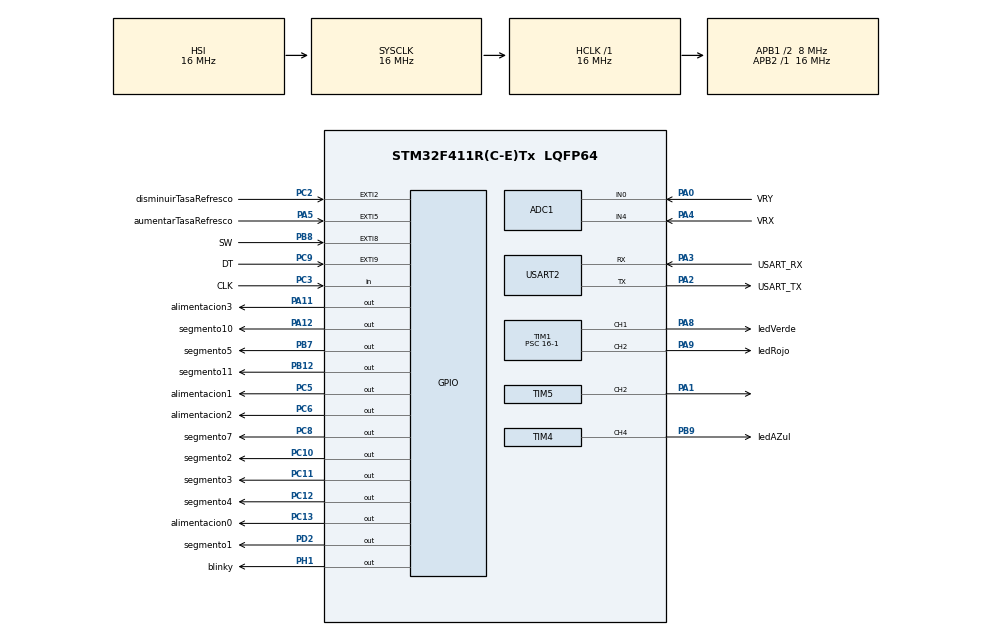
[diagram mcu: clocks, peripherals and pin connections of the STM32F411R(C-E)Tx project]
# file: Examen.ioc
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ADC1.Channel-1\#ChannelRegularConversion=ADC_CHANNEL_4
ADC1.Channel-2\#ChannelRegularConversion=ADC_CHANNEL_0
ADC1.ContinuousConvMode=DISABLE
ADC1.DMAContinuousRequests=ENABLE
ADC1.ExternalTrigConv=ADC_EXTERNALTRIGCONV_T5_CC2
ADC1.NbrOfConversion=2
ADC1.NbrOfConversionFlag=1
ADC1.Rank-1\#ChannelRegularConversion=1
ADC1.Rank-2\#ChannelRegularConversion=2
ADC1.SamplingTime-1\#ChannelRegularConversion=ADC_SAMPLETIME_3CYCLES
ADC1.SamplingTime-2\#ChannelRegularConversion=ADC_SAMPLETIME_3CYCLES
ADC1.ScanConvMode=ENABLE
ADC1.master=1
Dma.ADC1.0.Direction=DMA_PERIPH_TO_MEMORY
Dma.ADC1.0.FIFOMode=DMA_FIFOMODE_DISABLE
Dma.ADC1.0.Instance=DMA2_Stream0
Dma.ADC1.0.MemDataAlignment=DMA_MDATAALIGN_HALFWORD
Dma.ADC1.0.MemInc=DMA_MINC_ENABLE
Dma.ADC1.0.Mode=DMA_CIRCULAR
Dma.ADC1.0.PeriphDataAlignment=DMA_PDATAALIGN_HALFWORD
Dma.ADC1.0.PeriphInc=DMA_PINC_DISABLE
Dma.ADC1.0.Priority=DMA_PRIORITY_LOW
Dma.Request0=ADC1
Dma.Request1=USART2_RX
Dma.Request2=USART2_TX
Dma.USART2_RX.1.Direction=DMA_PERIPH_TO_MEMORY
Dma.USART2_RX.1.FIFOMode=DMA_FIFOMODE_DISABLE
Dma.USART2_RX.1.Instance=DMA1_Stream5
Dma.USART2_RX.1.MemDataAlignment=DMA_MDATAALIGN_BYTE
Dma.USART2_RX.1.MemInc=DMA_MINC_ENABLE
Dma.USART2_RX.1.Mode=DMA_NORMAL
Dma.USART2_RX.1.PeriphDataAlignment=DMA_PDATAALIGN_BYTE
Dma.USART2_RX.1.PeriphInc=DMA_PINC_DISABLE
Dma.USART2_RX.1.Priority=DMA_PRIORITY_LOW
Dma.USART2_TX.2.Direction=DMA_MEMORY_TO_PERIPH
Dma.USART2_TX.2.FIFOMode=DMA_FIFOMODE_DISABLE
Dma.USART2_TX.2.Instance=DMA1_Stream6
Dma.USART2_TX.2.MemDataAlignment=DMA_MDATAALIGN_BYTE
Dma.USART2_TX.2.MemInc=DMA_MINC_ENABLE
Dma.USART2_TX.2.Mode=DMA_NORMAL
Dma.USART2_TX.2.PeriphDataAlignment=DMA_PDATAALIGN_BYTE
Dma.USART2_TX.2.PeriphInc=DMA_PINC_DISABLE
Dma.USART2_TX.2.Priority=DMA_PRIORITY_LOW
Mcu.Family=STM32F4
Mcu.Name=STM32F411R(C-E)Tx
Mcu.Package=LQFP64
NVIC.DMA1_Stream5_IRQn=true\:0\:0\:false\:false\:true\:false\:true\:true
NVIC.DMA1_Stream6_IRQn=true\:0\:0\:false\:false\:true\:false\:true\:true
NVIC.DMA2_Stream0_IRQn=true\:0\:0\:false\:false\:true\:false\:true\:true
NVIC.EXTI2_IRQn=true\:0\:0\:false\:false\:true\:true\:true\:true
NVIC.EXTI9_5_IRQn=true\:0\:0\:false\:false\:true\:true\:true\:true
NVIC.PriorityGroup=NVIC_PRIORITYGROUP_0
NVIC.TIM2_IRQn=true\:0\:0\:false\:false\:true\:true\:true\:true
NVIC.TIM3_IRQn=true\:0\:0\:false\:false\:true\:true\:true\:true
NVIC.USART2_IRQn=true\:0\:0\:false\:false\:true\:true\:true\:true
PA0-WKUP.GPIO_Label=VRY
PA0-WKUP.Signal=ADCx_IN0
PA1.Signal=S_TIM5_CH2
PA11.GPIO_Label=alimentacion3
PA11.GPIO_Speed=GPIO_SPEED_FREQ_MEDIUM
PA11.Signal=GPIO_Output
PA12.GPIO_Label=segmento10
PA12.GPIO_Speed=GPIO_SPEED_FREQ_MEDIUM
PA12.Signal=GPIO_Output
PA13.GPIO_Label=TMS
PA13.Mode=Serial_Wire
PA13.Signal=SYS_JTMS-SWDIO
PA14.GPIO_Label=TCK
PA14.Mode=Serial_Wire
PA14.Signal=SYS_JTCK-SWCLK
PA2.GPIO_Label=USART_TX
PA2.Mode=Asynchronous
PA2.Signal=USART2_TX
PA3.GPIO_Label=USART_RX
PA3.Mode=Asynchronous
PA3.Signal=USART2_RX
PA4.GPIO_Label=VRX
PA4.Signal=ADCx_IN4
PA5.GPIO_Label=aumentarTasaRefresco
PA5.Signal=GPXTI5
PA8.GPIO_Label=ledVerde
PA8.Signal=S_TIM1_CH1
PA9.GPIO_Label=ledRojo
PA9.Signal=S_TIM1_CH2
PB12.GPIO_Label=segmento11
PB12.GPIO_Speed=GPIO_SPEED_FREQ_MEDIUM
PB12.Signal=GPIO_Output
PB3.GPIO_Label=SWO
PB3.Signal=SYS_JTDO-SWO
PB7.GPIO_Label=segmento5
PB7.GPIO_Speed=GPIO_SPEED_FREQ_MEDIUM
PB7.Signal=GPIO_Output
PB8.GPIO_Label=SW
PB8.Signal=GPXTI8
PB9.GPIO_Label=ledAZul
PB9.Signal=S_TIM4_CH4
PC10.GPIO_Label=segmento2
PC10.GPIO_Speed=GPIO_SPEED_FREQ_MEDIUM
PC10.Signal=GPIO_Output
PC11.GPIO_Label=segmento3
PC11.GPIO_Speed=GPIO_SPEED_FREQ_MEDIUM
PC11.Signal=GPIO_Output
PC12.GPIO_Label=segmento4
PC12.GPIO_Speed=GPIO_SPEED_FREQ_MEDIUM
PC12.Signal=GPIO_Output
PC13-ANTI_TAMP.GPIO_Label=alimentacion0
PC13-ANTI_TAMP.Signal=GPIO_Output
PC14-OSC32_IN.Mode=LSE-External-Oscillator
PC14-OSC32_IN.Signal=RCC_OSC32_IN
PC15-OSC32_OUT.Mode=LSE-External-Oscillator
PC15-OSC32_OUT.Signal=RCC_OSC32_OUT
PC2.GPIO_Label=disminuirTasaRefresco
PC2.Signal=GPXTI2
PC3.GPIO_Label=CLK
PC3.Signal=GPIO_Input
PC5.GPIO_Label=alimentacion1
PC5.GPIO_Speed=GPIO_SPEED_FREQ_MEDIUM
PC5.Signal=GPIO_Output
PC6.GPIO_Label=alimentacion2
PC6.GPIO_Speed=GPIO_SPEED_FREQ_MEDIUM
PC6.Signal=GPIO_Output
PC8.GPIO_Label=segmento7
PC8.GPIO_Speed=GPIO_SPEED_FREQ_MEDIUM
PC8.Signal=GPIO_Output
PC9.GPIO_Label=DT
PC9.Signal=GPXTI9
PD2.GPIO_Label=segmento1
PD2.GPIO_Speed=GPIO_SPEED_FREQ_MEDIUM
PD2.Signal=GPIO_Output
PH0\ -\ OSC_IN.Signal=RCC_OSC_IN
PH1\ -\ OSC_OUT.GPIO_Label=blinky
PH1\ -\ OSC_OUT.GPIO_Speed=GPIO_SPEED_FREQ_MEDIUM
PH1\ -\ OSC_OUT.Signal=GPIO_Output
ProjectManager.HeapSize=0x200
ProjectManager.StackSize=0x400
ProjectManager.TargetToolchain=STM32CubeIDE
RCC.48MHZClocksFreq_Value=84000000
RCC.AHBFreq_Value=16000000
RCC.APB1CLKDivider=RCC_HCLK_DIV2
RCC.APB1Freq_Value=8000000
RCC.APB1TimFreq_Value=16000000
RCC.APB2Freq_Value=16000000
RCC.APB2TimFreq_Value=16000000
RCC.CortexFreq_Value=16000000
RCC.FLatency-AdvancedSettings=FLASH_LATENCY_0
RCC.HCLKFreq_Value=16000000
RCC.HSE_VALUE=8000000
RCC.HSI_VALUE=16000000
RCC.PLLN=336
RCC.PLLP=RCC_PLLP_DIV4
RCC.SYSCLKFreq_VALUE=16000000
RCC.VCOOutputFreq_Value=336000000
SH.ADCx_IN0.0=ADC1_IN0,IN0
SH.ADCx_IN4.0=ADC1_IN4,IN4
SH.S_TIM1_CH1.0=TIM1_CH1,PWM Generation1 CH1
SH.S_TIM1_CH2.0=TIM1_CH2,PWM Generation2 CH2
SH.S_TIM4_CH4.0=TIM4_CH4,PWM Generation4 CH4
SH.S_TIM5_CH2.0=TIM5_CH2,Output Compare2 CH2
TIM1.Channel-PWM\ Generation1\ CH1=TIM_CHANNEL_1
TIM1.Channel-PWM\ Generation2\ CH2=TIM_CHANNEL_2
TIM1.Period=1000-1
TIM1.Prescaler=16-1
TIM1.Pulse-PWM\ Generation1\ CH1=200
TIM1.Pulse-PWM\ Generation2\ CH2=80
TIM2.Period=250-1
TIM2.Prescaler=16000-1
TIM3.Period=3
TIM3.Prescaler=16000-1
TIM4.Channel-PWM\ Generation4\ CH4=TIM_CHANNEL_4
TIM4.Period=1000-1
TIM4.Prescaler=16-1
TIM4.Pulse-PWM\ Generation4\ CH4=100
TIM5.Channel-Output\ Compare2\ CH2=TIM_CHANNEL_2
TIM5.OCMode_2=TIM_OCMODE_TOGGLE
TIM5.Period=100-1
TIM5.Prescaler=16000-1
TIM5.TIM_MasterOutputTrigger=TIM_TRGO_OC2REF
USART2.VirtualMode=VM_ASYNC
VP_TIM2_VS_ClockSourceINT.Mode=Internal
VP_TIM3_VS_ClockSourceINT.Mode=Internal
VP_TIM5_VS_ClockSourceINT.Mode=Internal
board=NUCLEO-F411RE

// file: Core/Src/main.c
/* USER CODE BEGIN Header */
/**
  ******************************************************************************
  * @file           : main.c
  * @brief          : Main program body
  ******************************************************************************
  * @attention
  *
  * Copyright (c) 2025 STMicroelectronics.
  * All rights reserved.
  *
  * This software is licensed under terms that can be found in the LICENSE file
  * in the root directory of this software component.
  * If no LICENSE file comes with this software, it is provided AS-IS.
  *
  ******************************************************************************
  */
/* USER CODE END Header */
#include "main.h"

/* USER CODE BEGIN PTD */
//Definimos una enumeracion con los diferentes estados que puede tener la maquina
typedef enum{
	refrescar,
	cambiar_numero,
	aumentar_tasa_refresco,
	disminuir_tasa_refresco,
	resetear,
	Blinky,
	mensaje,
	IDLE
}posiblesEstados;

typedef struct
{
	posiblesEstados estado;
}estadoActual;

//Enumeramos las posibles partes que tenemos en el numero que aparece en el Display
typedef enum{
	unidad1 =0,
	decena1,
	centena1,
	milUnidad1,
}parteNumero;
/* USER CODE END PTD */

/* USER CODE BEGIN PD */
//Definimos el tamano del buffer donde se va a almacenar el menu
#define MENU_BUFFER_SIZE 1150
//Inicializamos la variable a la cual vamos a gurdarle el estado que
//tiene la maquina
estadoActual fsm ={0};

//Creamos la variable donde vamos a guardar el numero en x sin escalar
uint16_t numerox1=0;
//Creamos la variable donde vamos a guardar el numero en x escalado
uint16_t numerox=0;
//Creamos la variable donde vamos a guardar el numero en y sin escalar
uint16_t numeroy1=0;
//Creamos la variable donde vamos a guardar el numero en y escalado
uint16_t numeroy =0;

//Inicializamos las variables que van a permitir separar el numeroDisplay en 4 partes
uint8_t unidad = 0;
uint8_t decena = 0;
uint8_t centena = 0;
uint8_t milUnidad = 0;

//Bandera que nos va a indicar que duty de que color queremos modificar
uint8_t numeroColor =0;
//Inicializamos la variable donde guardamos que digito queremos encender (0,1,2,3)
uint8_t digito = 0;
//Inicializamos la variable que va a modificar la tasa de refresco
//Comenzamos con un periodo de 20ms
uint16_t tasa_refresco = 20;

//Variables para el ADC
uint16_t adc_dma_buffer[2];     // DMA escribe aquí: [0] = X, [1] = Y

#define BUFFER_LEN 2048
//Definimos la variable que nos indica el tamano de los buffer recibidos
#define UART_RX_BUFFER_SIZE 64
uint16_t x_buffer[BUFFER_LEN];
uint16_t y_buffer[BUFFER_LEN];
uint16_t buffer_index = 0;

//Creamos la variable donde almacenaremos el menu inicial
char menu_display_buffer[MENU_BUFFER_SIZE];
/* USER CODE END PD */

ADC_HandleTypeDef hadc1;
DMA_HandleTypeDef hdma_adc1;

TIM_HandleTypeDef htim1;
TIM_HandleTypeDef htim2;
TIM_HandleTypeDef htim3;
TIM_HandleTypeDef htim4;
TIM_HandleTypeDef htim5;

UART_HandleTypeDef huart2;
DMA_HandleTypeDef hdma_usart2_rx;
DMA_HandleTypeDef hdma_usart2_tx;

/* USER CODE BEGIN PV */
//Definimos una tabla con los comandos y funciones posibles
const comando_t tablaComandos[]={
		{"duty", 	cambiarDuty},
		{"ciclosDigito", ciclosMCUD},
		{"ciclosMensaje", ciclosMCUM},
		{"help", help},
};
//Guardamos el numero de comandos en una variable
const int numeroComandos = sizeof (tablaComandos)/sizeof (comando_t);

//Creamos las variables donde se van a guardar los buffer utilizando
//el metodo ping pong
typedef enum{
	bufferA,
	bufferB
}bufferActivo;

//Creamos los buffer a y b
uint8_t rx_buffer_a [UART_RX_BUFFER_SIZE]={0};
uint8_t rx_buffer_b [UART_RX_BUFFER_SIZE]={0};

//Creamos una estructura donde se almacena los datos correspondientes al
//buffer activo
typedef struct{
	uint8_t* buffer;
	uint16_t size;
}DataPacket;

//Inicializamos la estructura DataPacket con el buffer vacío y el tamano
//igual a 0
volatile DataPacket data_ready_packet ={.buffer= NULL, .size=0};
//Inicializamos la variable del buffer activo con el buffer a
volatile bufferActivo dma_buffer_activo = bufferA;
//Inicializamos la variable de ciclosMCU para el digito
uint32_t ciclos =0;
/* USER CODE END PV */

void SystemClock_Config(void);
static void MX_GPIO_Init(void);
static void MX_DMA_Init(void);
static void MX_USART2_UART_Init(void);
static void MX_TIM2_Init(void);
static void MX_TIM3_Init(void);
static void MX_ADC1_Init(void);
static void MX_TIM1_Init(void);
static void MX_TIM4_Init(void);
static void MX_TIM5_Init(void);
/* USER CODE BEGIN PFP */
/*
 * Declaramos la funciones que aparecerán próximamente
 */
//Funcion que define qué se va a hacer según el estado en el que se encuentre la maquina
void maquinaEstados(uint8_t digito);
//Funcion que separa el numeroDisplay en 4 partes (unidad, decena, centena, milUnidad)
uint16_t separacion_parte (parteNumero parte, uint16_t numeroLocal);
//Funcion que nos permite encender el numero que queremos en el digito que queremos
void digito_encendido(uint8_t digito, uint8_t unidad,uint8_t decena, uint8_t centena, uint8_t milUnidad);
//Funcion que se encuentra dentro de "digito_encendido" para definir que numero
//quiero ver en cada digito
void definir_numero (uint8_t numero);
//Funcion para configurar los pines del 7 segmentos
void configurar7Segmentos();
//Funcion para configurar el pin del Blinky
void configurarTimers ();
//Funcion que configura los pines para el EXTI
void configurarExti ();
//Funcion para cambiar numero según el Encoder
uint16_t cambioNumero (uint16_t numeroLocal);

//Funciones para USART
//Funcion para imprimir el menu de opciones
void menuComandos (char* params);
//Funcion que analiza el comando recibido
void analizarComando (uint8_t* buffer, uint16_t size);
//Funcion que despacha el comando
void despacharComando (comandoID_t id, char* comando, char* params);
//Funcion para encontrar el comando que el usuario envió
comandoID_t encontrarComandoid (const char* comando_str);
/* USER CODE END PFP */

int main(void)
{

  /* MCU Configuration--------------------------------------------------------*/

  /* Reset of all peripherals, Initializes the Flash interface and the Systick. */
  HAL_Init();

  /* Configure the system clock */
  SystemClock_Config();

  /* USER CODE BEGIN SysInit */
  fsm.estado = refrescar;
  /* USER CODE END SysInit */

  /* Initialize all configured peripherals */
  MX_GPIO_Init();
  MX_DMA_Init();
  MX_USART2_UART_Init();
  MX_TIM2_Init();
  MX_TIM3_Init();
  MX_ADC1_Init();
  MX_TIM1_Init();
  MX_TIM4_Init();
  MX_TIM5_Init();
  /* USER CODE BEGIN 2 */
  //Activamos los timers y sus interrupciones
  HAL_TIM_Base_Start_IT(&htim2);
  HAL_TIM_Base_Start_IT(&htim3);
  //Inicializamos el Timer1 y 4 (sin interrupciones)
  HAL_TIM_Base_Start(&htim1);
  HAL_TIM_Base_Start(&htim4);
  HAL_TIM_Base_Start(&htim5);
  //Inicializamos los PWM
  HAL_TIM_PWM_Start(&htim1, TIM_CHANNEL_1);
  HAL_TIM_PWM_Start(&htim1, TIM_CHANNEL_2);
  HAL_TIM_PWM_Start(&htim4, TIM_CHANNEL_4);
  HAL_TIM_PWM_Start(&htim5, TIM_CHANNEL_2);
  //Inicializamos las conversiones ADC
  HAL_ADC_Start_DMA(&hadc1, (uint32_t*)adc_dma_buffer, 2);
  //Imprimimos el menu de comandos
  menuComandos(menu_display_buffer);
  //Inicializamos el buffer activo
  dma_buffer_activo= bufferA;
  //Comenzamos la recepcion del comando
  HAL_UARTEx_ReceiveToIdle_DMA(&huart2, rx_buffer_a, UART_RX_BUFFER_SIZE);

  // Hacemos la inicializacion correspondiente al registro para contar ciclos de MCU
  CoreDebug->DEMCR |= CoreDebug_DEMCR_TRCENA_Msk;     // Habilitar el sistema de trazado
  DWT->CYCCNT = 0;                                    // Reiniciar contador
  DWT->CTRL |= DWT_CTRL_CYCCNTENA_Msk;                // Habilitar contador

  /* USER CODE END 2 */

  /* Infinite loop */
  /* USER CODE BEGIN WHILE */
  while (1)
  {
	  if(fsm.estado != IDLE){
		  maquinaEstados(digito);
	  }
    /* USER CODE END WHILE */

    /* USER CODE BEGIN 3 */
  }
  return 0;
  /* USER CODE END 3 */
}

void SystemClock_Config(void)
{
  RCC_OscInitTypeDef RCC_OscInitStruct = {0};
  RCC_ClkInitTypeDef RCC_ClkInitStruct = {0};

  /** Configure the main internal regulator output voltage
  */
  __HAL_RCC_PWR_CLK_ENABLE();
  __HAL_PWR_VOLTAGESCALING_CONFIG(PWR_REGULATOR_VOLTAGE_SCALE1);

  /** Initializes the RCC Oscillators according to the specified parameters
  * in the RCC_OscInitTypeDef structure.
  */
  RCC_OscInitStruct.OscillatorType = RCC_OSCILLATORTYPE_HSI;
  RCC_OscInitStruct.HSIState = RCC_HSI_ON;
  RCC_OscInitStruct.HSICalibrationValue = RCC_HSICALIBRATION_DEFAULT;
  RCC_OscInitStruct.PLL.PLLState = RCC_PLL_NONE;
  if (HAL_RCC_OscConfig(&RCC_OscInitStruct) != HAL_OK)
  {
    Error_Handler();
  }

  /** Initializes the CPU, AHB and APB buses clocks
  */
  RCC_ClkInitStruct.ClockType = RCC_CLOCKTYPE_HCLK|RCC_CLOCKTYPE_SYSCLK
                              |RCC_CLOCKTYPE_PCLK1|RCC_CLOCKTYPE_PCLK2;
  RCC_ClkInitStruct.SYSCLKSource = RCC_SYSCLKSOURCE_HSI;
  RCC_ClkInitStruct.AHBCLKDivider = RCC_SYSCLK_DIV1;
  RCC_ClkInitStruct.APB1CLKDivider = RCC_HCLK_DIV2;
  RCC_ClkInitStruct.APB2CLKDivider = RCC_HCLK_DIV1;

  if (HAL_RCC_ClockConfig(&RCC_ClkInitStruct, FLASH_LATENCY_0) != HAL_OK)
  {
    Error_Handler();
  }
}

static void MX_ADC1_Init(void)
{

  ADC_ChannelConfTypeDef sConfig = {0};

  /** Configure the global features of the ADC (Clock, Resolution, Data Alignment and number of conversion)
  */
  hadc1.Instance = ADC1;
  hadc1.Init.ClockPrescaler = ADC_CLOCK_SYNC_PCLK_DIV2;
  hadc1.Init.Resolution = ADC_RESOLUTION_12B;
  hadc1.Init.ScanConvMode = ENABLE;
  hadc1.Init.ContinuousConvMode = DISABLE;
  hadc1.Init.DiscontinuousConvMode = DISABLE;
  hadc1.Init.ExternalTrigConvEdge = ADC_EXTERNALTRIGCONVEDGE_RISING;
  hadc1.Init.ExternalTrigConv = ADC_EXTERNALTRIGCONV_T5_CC2;
  hadc1.Init.DataAlign = ADC_DATAALIGN_RIGHT;
  hadc1.Init.NbrOfConversion = 2;
  hadc1.Init.DMAContinuousRequests = ENABLE;
  hadc1.Init.EOCSelection = ADC_EOC_SINGLE_CONV;
  if (HAL_ADC_Init(&hadc1) != HAL_OK)
  {
    Error_Handler();
  }

  /** Configure for the selected ADC regular channel its corresponding rank in the sequencer and its sample time.
  */
  sConfig.Channel = ADC_CHANNEL_4;
  sConfig.Rank = 1;
  sConfig.SamplingTime = ADC_SAMPLETIME_3CYCLES;
  if (HAL_ADC_ConfigChannel(&hadc1, &sConfig) != HAL_OK)
  {
    Error_Handler();
  }

  /** Configure for the selected ADC regular channel its corresponding rank in the sequencer and its sample time.
  */
  sConfig.Channel = ADC_CHANNEL_0;
  sConfig.Rank = 2;
  if (HAL_ADC_ConfigChannel(&hadc1, &sConfig) != HAL_OK)
  {
    Error_Handler();
  }

}

static void MX_TIM1_Init(void)
{

  TIM_MasterConfigTypeDef sMasterConfig = {0};
  TIM_OC_InitTypeDef sConfigOC = {0};
  TIM_BreakDeadTimeConfigTypeDef sBreakDeadTimeConfig = {0};

  htim1.Instance = TIM1;
  htim1.Init.Prescaler = 16-1;
  htim1.Init.CounterMode = TIM_COUNTERMODE_UP;
  htim1.Init.Period = 1000-1;
  htim1.Init.ClockDivision = TIM_CLOCKDIVISION_DIV1;
  htim1.Init.RepetitionCounter = 0;
  htim1.Init.AutoReloadPreload = TIM_AUTORELOAD_PRELOAD_DISABLE;
  if (HAL_TIM_PWM_Init(&htim1) != HAL_OK)
  {
    Error_Handler();
  }
  sMasterConfig.MasterOutputTrigger = TIM_TRGO_RESET;
  sMasterConfig.MasterSlaveMode = TIM_MASTERSLAVEMODE_DISABLE;
  if (HAL_TIMEx_MasterConfigSynchronization(&htim1, &sMasterConfig) != HAL_OK)
  {
    Error_Handler();
  }
  sConfigOC.OCMode = TIM_OCMODE_PWM1;
  sConfigOC.Pulse = 200;
  sConfigOC.OCPolarity = TIM_OCPOLARITY_HIGH;
  sConfigOC.OCNPolarity = TIM_OCNPOLARITY_HIGH;
  sConfigOC.OCFastMode = TIM_OCFAST_DISABLE;
  sConfigOC.OCIdleState = TIM_OCIDLESTATE_RESET;
  sConfigOC.OCNIdleState = TIM_OCNIDLESTATE_RESET;
  if (HAL_TIM_PWM_ConfigChannel(&htim1, &sConfigOC, TIM_CHANNEL_1) != HAL_OK)
  {
    Error_Handler();
  }
  sConfigOC.Pulse = 80;
  if (HAL_TIM_PWM_ConfigChannel(&htim1, &sConfigOC, TIM_CHANNEL_2) != HAL_OK)
  {
    Error_Handler();
  }
  sBreakDeadTimeConfig.OffStateRunMode = TIM_OSSR_DISABLE;
  sBreakDeadTimeConfig.OffStateIDLEMode = TIM_OSSI_DISABLE;
  sBreakDeadTimeConfig.LockLevel = TIM_LOCKLEVEL_OFF;
  sBreakDeadTimeConfig.DeadTime = 0;
  sBreakDeadTimeConfig.BreakState = TIM_BREAK_DISABLE;
  sBreakDeadTimeConfig.BreakPolarity = TIM_BREAKPOLARITY_HIGH;
  sBreakDeadTimeConfig.AutomaticOutput = TIM_AUTOMATICOUTPUT_DISABLE;
  if (HAL_TIMEx_ConfigBreakDeadTime(&htim1, &sBreakDeadTimeConfig) != HAL_OK)
  {
    Error_Handler();
  }
  HAL_TIM_MspPostInit(&htim1);

}

static void MX_TIM2_Init(void)
{

  TIM_ClockConfigTypeDef sClockSourceConfig = {0};
  TIM_MasterConfigTypeDef sMasterConfig = {0};

  htim2.Instance = TIM2;
  htim2.Init.Prescaler = 16000-1;
  htim2.Init.CounterMode = TIM_COUNTERMODE_UP;
  htim2.Init.Period = 250-1;
  htim2.Init.ClockDivision = TIM_CLOCKDIVISION_DIV1;
  htim2.Init.AutoReloadPreload = TIM_AUTORELOAD_PRELOAD_DISABLE;
  if (HAL_TIM_Base_Init(&htim2) != HAL_OK)
  {
    Error_Handler();
  }
  sClockSourceConfig.ClockSource = TIM_CLOCKSOURCE_INTERNAL;
  if (HAL_TIM_ConfigClockSource(&htim2, &sClockSourceConfig) != HAL_OK)
  {
    Error_Handler();
  }
  sMasterConfig.MasterOutputTrigger = TIM_TRGO_RESET;
  sMasterConfig.MasterSlaveMode = TIM_MASTERSLAVEMODE_DISABLE;
  if (HAL_TIMEx_MasterConfigSynchronization(&htim2, &sMasterConfig) != HAL_OK)
  {
    Error_Handler();
  }

}

static void MX_TIM3_Init(void)
{

  TIM_ClockConfigTypeDef sClockSourceConfig = {0};
  TIM_MasterConfigTypeDef sMasterConfig = {0};

  htim3.Instance = TIM3;
  htim3.Init.Prescaler = 16000-1;
  htim3.Init.CounterMode = TIM_COUNTERMODE_UP;
  htim3.Init.Period = 3;
  htim3.Init.ClockDivision = TIM_CLOCKDIVISION_DIV1;
  htim3.Init.AutoReloadPreload = TIM_AUTORELOAD_PRELOAD_DISABLE;
  if (HAL_TIM_Base_Init(&htim3) != HAL_OK)
  {
    Error_Handler();
  }
  sClockSourceConfig.ClockSource = TIM_CLOCKSOURCE_INTERNAL;
  if (HAL_TIM_ConfigClockSource(&htim3, &sClockSourceConfig) != HAL_OK)
  {
    Error_Handler();
  }
  sMasterConfig.MasterOutputTrigger = TIM_TRGO_RESET;
  sMasterConfig.MasterSlaveMode = TIM_MASTERSLAVEMODE_DISABLE;
  if (HAL_TIMEx_MasterConfigSynchronization(&htim3, &sMasterConfig) != HAL_OK)
  {
    Error_Handler();
  }

}

static void MX_TIM4_Init(void)
{

  TIM_MasterConfigTypeDef sMasterConfig = {0};
  TIM_OC_InitTypeDef sConfigOC = {0};

  htim4.Instance = TIM4;
  htim4.Init.Prescaler = 16-1;
  htim4.Init.CounterMode = TIM_COUNTERMODE_UP;
  htim4.Init.Period = 1000-1;
  htim4.Init.ClockDivision = TIM_CLOCKDIVISION_DIV1;
  htim4.Init.AutoReloadPreload = TIM_AUTORELOAD_PRELOAD_DISABLE;
  if (HAL_TIM_PWM_Init(&htim4) != HAL_OK)
  {
    Error_Handler();
  }
  sMasterConfig.MasterOutputTrigger = TIM_TRGO_RESET;
  sMasterConfig.MasterSlaveMode = TIM_MASTERSLAVEMODE_DISABLE;
  if (HAL_TIMEx_MasterConfigSynchronization(&htim4, &sMasterConfig) != HAL_OK)
  {
    Error_Handler();
  }
  sConfigOC.OCMode = TIM_OCMODE_PWM1;
  sConfigOC.Pulse = 100;
  sConfigOC.OCPolarity = TIM_OCPOLARITY_HIGH;
  sConfigOC.OCFastMode = TIM_OCFAST_DISABLE;
  if (HAL_TIM_PWM_ConfigChannel(&htim4, &sConfigOC, TIM_CHANNEL_4) != HAL_OK)
  {
    Error_Handler();
  }
  HAL_TIM_MspPostInit(&htim4);

}

static void MX_TIM5_Init(void)
{

  TIM_ClockConfigTypeDef sClockSourceConfig = {0};
  TIM_MasterConfigTypeDef sMasterConfig = {0};
  TIM_OC_InitTypeDef sConfigOC = {0};

  htim5.Instance = TIM5;
  htim5.Init.Prescaler = 16000-1;
  htim5.Init.CounterMode = TIM_COUNTERMODE_UP;
  htim5.Init.Period = 100-1;
  htim5.Init.ClockDivision = TIM_CLOCKDIVISION_DIV1;
  htim5.Init.AutoReloadPreload = TIM_AUTORELOAD_PRELOAD_DISABLE;
  if (HAL_TIM_Base_Init(&htim5) != HAL_OK)
  {
    Error_Handler();
  }
  sClockSourceConfig.ClockSource = TIM_CLOCKSOURCE_INTERNAL;
  if (HAL_TIM_ConfigClockSource(&htim5, &sClockSourceConfig) != HAL_OK)
  {
    Error_Handler();
  }
  if (HAL_TIM_OC_Init(&htim5) != HAL_OK)
  {
    Error_Handler();
  }
  sMasterConfig.MasterOutputTrigger = TIM_TRGO_OC2REF;
  sMasterConfig.MasterSlaveMode = TIM_MASTERSLAVEMODE_DISABLE;
  if (HAL_TIMEx_MasterConfigSynchronization(&htim5, &sMasterConfig) != HAL_OK)
  {
    Error_Handler();
  }
  sConfigOC.OCMode = TIM_OCMODE_TOGGLE;
  sConfigOC.Pulse = 0;
  sConfigOC.OCPolarity = TIM_OCPOLARITY_HIGH;
  sConfigOC.OCFastMode = TIM_OCFAST_DISABLE;
  if (HAL_TIM_OC_ConfigChannel(&htim5, &sConfigOC, TIM_CHANNEL_2) != HAL_OK)
  {
    Error_Handler();
  }
  HAL_TIM_MspPostInit(&htim5);

}

static void MX_USART2_UART_Init(void)
{

  huart2.Instance = USART2;
  huart2.Init.BaudRate = 115200;
  huart2.Init.WordLength = UART_WORDLENGTH_8B;
  huart2.Init.StopBits = UART_STOPBITS_1;
  huart2.Init.Parity = UART_PARITY_NONE;
  huart2.Init.Mode = UART_MODE_TX_RX;
  huart2.Init.HwFlowCtl = UART_HWCONTROL_NONE;
  huart2.Init.OverSampling = UART_OVERSAMPLING_16;
  if (HAL_UART_Init(&huart2) != HAL_OK)
  {
    Error_Handler();
  }

}

static void MX_DMA_Init(void)
{

  /* DMA controller clock enable */
  __HAL_RCC_DMA2_CLK_ENABLE();
  __HAL_RCC_DMA1_CLK_ENABLE();

  /* DMA interrupt init */
  /* DMA1_Stream5_IRQn interrupt configuration */
  HAL_NVIC_SetPriority(DMA1_Stream5_IRQn, 0, 0);
  HAL_NVIC_EnableIRQ(DMA1_Stream5_IRQn);
  /* DMA1_Stream6_IRQn interrupt configuration */
  HAL_NVIC_SetPriority(DMA1_Stream6_IRQn, 0, 0);
  HAL_NVIC_EnableIRQ(DMA1_Stream6_IRQn);
  /* DMA2_Stream0_IRQn interrupt configuration */
  HAL_NVIC_SetPriority(DMA2_Stream0_IRQn, 0, 0);
  HAL_NVIC_EnableIRQ(DMA2_Stream0_IRQn);

}

static void MX_GPIO_Init(void)
{
  GPIO_InitTypeDef GPIO_InitStruct = {0};

  /* GPIO Ports Clock Enable */
  __HAL_RCC_GPIOC_CLK_ENABLE();
  __HAL_RCC_GPIOH_CLK_ENABLE();
  __HAL_RCC_GPIOA_CLK_ENABLE();
  __HAL_RCC_GPIOB_CLK_ENABLE();
  __HAL_RCC_GPIOD_CLK_ENABLE();

  /*Configure GPIO pin Output Level */
  HAL_GPIO_WritePin(GPIOC, alimentacion0_Pin|alimentacion1_Pin|alimentacion2_Pin|segmento7_Pin
                          |segmento2_Pin|segmento3_Pin|segmento4_Pin, GPIO_PIN_RESET);

  /*Configure GPIO pin Output Level */
  HAL_GPIO_WritePin(blinky_GPIO_Port, blinky_Pin, GPIO_PIN_RESET);

  /*Configure GPIO pin Output Level */
  HAL_GPIO_WritePin(GPIOB, segmento11_Pin|segmento5_Pin, GPIO_PIN_RESET);

  /*Configure GPIO pin Output Level */
  HAL_GPIO_WritePin(GPIOA, alimentacion3_Pin|segmento10_Pin, GPIO_PIN_RESET);

  /*Configure GPIO pin Output Level */
  HAL_GPIO_WritePin(segmento1_GPIO_Port, segmento1_Pin, GPIO_PIN_RESET);

  /*Configure GPIO pin : alimentacion0_Pin */
  GPIO_InitStruct.Pin = alimentacion0_Pin;
  GPIO_InitStruct.Mode = GPIO_MODE_OUTPUT_PP;
  GPIO_InitStruct.Pull = GPIO_NOPULL;
  GPIO_InitStruct.Speed = GPIO_SPEED_FREQ_LOW;
  HAL_GPIO_Init(alimentacion0_GPIO_Port, &GPIO_InitStruct);

  /*Configure GPIO pin : blinky_Pin */
  GPIO_InitStruct.Pin = blinky_Pin;
  GPIO_InitStruct.Mode = GPIO_MODE_OUTPUT_PP;
  GPIO_InitStruct.Pull = GPIO_NOPULL;
  GPIO_InitStruct.Speed = GPIO_SPEED_FREQ_MEDIUM;
  HAL_GPIO_Init(blinky_GPIO_Port, &GPIO_InitStruct);

  /*Configure GPIO pins : disminuirTasaRefresco_Pin DT_Pin */
  GPIO_InitStruct.Pin = disminuirTasaRefresco_Pin|DT_Pin;
  GPIO_InitStruct.Mode = GPIO_MODE_IT_RISING;
  GPIO_InitStruct.Pull = GPIO_NOPULL;
  HAL_GPIO_Init(GPIOC, &GPIO_InitStruct);

  /*Configure GPIO pin : CLK_Pin */
  GPIO_InitStruct.Pin = CLK_Pin;
  GPIO_InitStruct.Mode = GPIO_MODE_INPUT;
  GPIO_InitStruct.Pull = GPIO_NOPULL;
  HAL_GPIO_Init(CLK_GPIO_Port, &GPIO_InitStruct);

  /*Configure GPIO pin : aumentarTasaRefresco_Pin */
  GPIO_InitStruct.Pin = aumentarTasaRefresco_Pin;
  GPIO_InitStruct.Mode = GPIO_MODE_IT_RISING;
  GPIO_InitStruct.Pull = GPIO_NOPULL;
  HAL_GPIO_Init(aumentarTasaRefresco_GPIO_Port, &GPIO_InitStruct);

  /*Configure GPIO pins : alimentacion1_Pin alimentacion2_Pin segmento7_Pin segmento2_Pin
                           segmento3_Pin segmento4_Pin */
  GPIO_InitStruct.Pin = alimentacion1_Pin|alimentacion2_Pin|segmento7_Pin|segmento2_Pin
                          |segmento3_Pin|segmento4_Pin;
  GPIO_InitStruct.Mode = GPIO_MODE_OUTPUT_PP;
  GPIO_InitStruct.Pull = GPIO_NOPULL;
  GPIO_InitStruct.Speed = GPIO_SPEED_FREQ_MEDIUM;
  HAL_GPIO_Init(GPIOC, &GPIO_InitStruct);

  /*Configure GPIO pins : segmento11_Pin segmento5_Pin */
  GPIO_InitStruct.Pin = segmento11_Pin|segmento5_Pin;
  GPIO_InitStruct.Mode = GPIO_MODE_OUTPUT_PP;
  GPIO_InitStruct.Pull = GPIO_NOPULL;
  GPIO_InitStruct.Speed = GPIO_SPEED_FREQ_MEDIUM;
  HAL_GPIO_Init(GPIOB, &GPIO_InitStruct);

  /*Configure GPIO pins : alimentacion3_Pin segmento10_Pin */
  GPIO_InitStruct.Pin = alimentacion3_Pin|segmento10_Pin;
  GPIO_InitStruct.Mode = GPIO_MODE_OUTPUT_PP;
  GPIO_InitStruct.Pull = GPIO_NOPULL;
  GPIO_InitStruct.Speed = GPIO_SPEED_FREQ_MEDIUM;
  HAL_GPIO_Init(GPIOA, &GPIO_InitStruct);

  /*Configure GPIO pin : segmento1_Pin */
  GPIO_InitStruct.Pin = segmento1_Pin;
  GPIO_InitStruct.Mode = GPIO_MODE_OUTPUT_PP;
  GPIO_InitStruct.Pull = GPIO_NOPULL;
  GPIO_InitStruct.Speed = GPIO_SPEED_FREQ_MEDIUM;
  HAL_GPIO_Init(segmento1_GPIO_Port, &GPIO_InitStruct);

  /*Configure GPIO pin : SW_Pin */
  GPIO_InitStruct.Pin = SW_Pin;
  GPIO_InitStruct.Mode = GPIO_MODE_IT_RISING;
  GPIO_InitStruct.Pull = GPIO_NOPULL;
  HAL_GPIO_Init(SW_GPIO_Port, &GPIO_InitStruct);

  /* EXTI interrupt init*/
  HAL_NVIC_SetPriority(EXTI2_IRQn, 0, 0);
  HAL_NVIC_EnableIRQ(EXTI2_IRQn);

  HAL_NVIC_SetPriority(EXTI9_5_IRQn, 0, 0);
  HAL_NVIC_EnableIRQ(EXTI9_5_IRQn);

}

/* USER CODE BEGIN 4 */
uint16_t separacion_parte (parteNumero parte, uint16_t numeroLocal){
	switch (parte){
	case unidad1:{
		uint8_t unidad = 0;
		unidad = numeroLocal%10;
		return unidad;
		break;
	}
	case decena1: {
		uint8_t unidad = 0;
		uint8_t decena = 0;
		unidad = numeroLocal%10;
		decena = ((numeroLocal-unidad)/10)%10;
		return decena;
		break;
	}
	case centena1:{
		uint8_t unidad = 0;
		unidad = numeroLocal%10;
		return unidad;
		break;
	}
	case milUnidad1: {
		uint8_t unidad = 0;
		uint8_t decena = 0;
		unidad = numeroLocal%10;
		decena = ((numeroLocal-unidad)/10)%10;
		return decena;
		break;
	}
	default:{
		return 0;
	}
	}//Fin del Switch case
}
void menuComandos (char* params){
	//Limpiamos el buffer
	memset (menu_display_buffer, 0, MENU_BUFFER_SIZE);
	//Creamos el string para el menu
	int offset =0;
	// Header
	    offset += snprintf(menu_display_buffer + offset, MENU_BUFFER_SIZE - offset,
	                       "| %-15s| %-65s| %-24s|\r\n", "Comando", "Descripcion", "Formato");

	    // Comandos con sus respectivas descripciones
	    offset += snprintf(menu_display_buffer + offset, MENU_BUFFER_SIZE - offset,
	                       "| %-15s| %-65s| %-24s|\r\n", "duty", "Controla el valor del Duty para el color deseado", "duty <color> <valor>");
	    offset += snprintf(menu_display_buffer + offset, MENU_BUFFER_SIZE - offset,
	                       "| %-15s| %-65s| %-24s|\r\n", "ciclosDigito", "Imprime el numero de ciclos del MCU", "ciclosDigito");
	    offset += snprintf(menu_display_buffer + offset, MENU_BUFFER_SIZE - offset,
	                       "| %-15s| %-65s| %-24s|\r\n", "ciclosMensaje", "Imprime el numero de ciclos del MCU", "ciclosMensaje");
	    offset += snprintf(menu_display_buffer + offset, MENU_BUFFER_SIZE - offset,
	                       "| %-15s| %-65s| %-24s|\r\n", "help", "Imprime el menu de comandos", "help");

	    // Transmitimos el menu a traves de la DMA
	    //Nos aseguramos de que no estemos transmitiendo otro buffer a traves de la DMA
	    if (huart2.gState == HAL_UART_STATE_READY) {
	    	//Transmitimos el menu
	        HAL_UART_Transmit_DMA(&huart2, (uint8_t*)menu_display_buffer, strlen(menu_display_buffer));
	    } else {
	        //Creamos un char donde almacenamos el mensaje de buffer ocupado
	        char busy_msg[] = "UART ocupado. Intenta 'help'.\r\n";
	        HAL_UART_Transmit_DMA(&huart2, (uint8_t*)busy_msg, strlen(busy_msg));
	    }

}
/*
 * Creamos la funcion que le indica a la maquina de estados que debe hacer para cada caso
 */
void maquinaEstados(uint8_t digito){
	switch (fsm.estado){
	case refrescar:{
		//Apagamos todos los digitos
		HAL_GPIO_WritePin(alimentacion0_GPIO_Port, alimentacion0_Pin, GPIO_PIN_SET);
		HAL_GPIO_WritePin(alimentacion1_GPIO_Port, alimentacion1_Pin, GPIO_PIN_SET);
		HAL_GPIO_WritePin(alimentacion2_GPIO_Port, alimentacion2_Pin, GPIO_PIN_SET);
		HAL_GPIO_WritePin(alimentacion3_GPIO_Port, alimentacion3_Pin, GPIO_PIN_SET);

		//Escalamos el valor de numerox1
		numerox = (numerox1 * 99) / 4095;
		//Escalamos el valor de numeroy1
		numeroy = (numeroy1 *99)/4095;

		// Vamos a dividir el numeroDisplay en unidades, decenas, centenas y unidades de mil.
		unidad =  separacion_parte (unidad1, numerox);
		decena = separacion_parte (decena1, numerox);
		centena = separacion_parte (centena1, numeroy);
		milUnidad = separacion_parte (milUnidad1, numeroy);
		//Llamamos a la funcion que nos indica qué pines deben estar encendidos en el digito
		//que deseo mostrar
		uint32_t start = DWT->CYCCNT;
		digito_encendido(digito,unidad, decena, centena, milUnidad);
		uint32_t end = DWT->CYCCNT;
		ciclos = end - start;
		break;
	}
	case cambiar_numero: {

		//Creamos una variable para guardar el valor del duty
		uint16_t duty = 1;
		//Llamamos la funcion encargada de cambiar el valor del duty
		duty = cambioNumero(duty);
		//Preguntamos si numeroColor es igual a 0
		if (numeroColor ==0) {
			//Cambiamos el valor del duty
		    __HAL_TIM_SET_COMPARE(&htim1, TIM_CHANNEL_2, duty);
		//Preguntamos si el color es igual a azul
		} else if (numeroColor ==1) {
			//Cambiamos el valor del duty azul
		    __HAL_TIM_SET_COMPARE(&htim4, TIM_CHANNEL_4, duty);
		//Preguntamos si el color es igual a verde
		} else if (numeroColor==2) {
			//Cambiamos el duty del verde
		    __HAL_TIM_SET_COMPARE(&htim1, TIM_CHANNEL_1, duty);
		}
		//Volvemos al estado refrescar
		fsm.estado = refrescar;
		break;
	}
	case aumentar_tasa_refresco:{
		// Apagamos el Timer.
		HAL_TIM_Base_Stop_IT(&htim3);
		//Nos aseguramos de que la tasa de refresco no vaya a sea menor a 1ms
		if (tasa_refresco<=1){
			tasa_refresco = 20;
		}
		//Disminuimos a la mitad ms la tasa de refresco
		else {
			tasa_refresco/=2;
		}

		//Configuramos el refresh Timer
		htim3.Init.Period = tasa_refresco;
		//Guardamos las nuevas configuraciones
		HAL_TIM_Base_Init(&htim3);
		// Encendemos nuevamente el Timer
		HAL_TIM_Base_Start_IT(&htim3);
		fsm.estado = refrescar;
		break;
	}
	case disminuir_tasa_refresco:{
		// Apagamos el Timer.
		HAL_TIM_Base_Stop_IT(&htim3);
		//Nos aseguramos de que la tasa de refresco no vaya a ser mayor de 1000 ms
		if (tasa_refresco>=1000){
			//Llevamos a la tasa de refresco a su estado inicial
			tasa_refresco =15;
		}
		else{
			//Aumentamos la tasa de refresco multiplicando por 2
			tasa_refresco*=2;
		}
		//Configuramos el refresh Timer
		htim3.Init.Period = tasa_refresco;
		//Guardamos las nuevas configuraciones
		HAL_TIM_Base_Init(&htim3);
		// Encendemos nuevamente el Timer
		HAL_TIM_Base_Start_IT(&htim3);
		//Volvemos al estado refrescar
		fsm.estado = refrescar;
		break;
	}
	case resetear:{
		//Con el SWITCH vamos a cambiar el color al que le vamos a modificar el duty
		numeroColor ++;
		//Si numeroColor es igual a 3 entonces vuelve a ser 0
		if (numeroColor ==3){
			numeroColor = 0;
		}
		//Volvemos al estado refrescar
		fsm.estado = refrescar;
	}
	case Blinky:{
		//Encendemos o apagamos el led
		HAL_GPIO_TogglePin(GPIOH, GPIO_PIN_1);
		//Volvemos al estado refrescar
		fsm.estado = refrescar;
	}
	case mensaje:{
		//Nos seguramos de que el buffer tenga un tamano distinto de 0
		  if (data_ready_packet.size >0){
			  //Creamos una variable auxiliar donde guardamos el valor del buffer
			  uint8_t* proc_buffer = 0;
			  //Creamos una variable auxiliar donde guardamos el valor del tamano del buffer
			  uint16_t proc_size=0;
			  //Asignamos los valores correspondientes a cada variable
			  proc_buffer = data_ready_packet.buffer;
			  proc_size = data_ready_packet.size;

			  //Borramos lo guardado en las variables globales para que no se acumulen los datos recibidos
			  data_ready_packet.buffer = NULL;
			  data_ready_packet.size =0;

			  //Procesamos los datos usando estas copias locales de forma segura
			  analizarComando(proc_buffer, proc_size);
		  }
		break;
	}
	case IDLE:{
		//En esta funcion no se hace absolutamente nada
		break;
	}
	default:{
		__NOP();
		break;
	}
	}//Fin del Switch case
}

//Funcion para analizar el comando recibido
void analizarComando (uint8_t* buffer, uint16_t size){
	//Nos preguntamos si el tamano de la entrada es mayor al asignado inicialmente
	if (size >= UART_RX_BUFFER_SIZE){
		//Nos aseguramos de que el ultimo caracter sea el nulo
		buffer [UART_RX_BUFFER_SIZE-1]='\0';
	} else{
		//Nos aseguramos de que el ultimo caracter sea nulo
		buffer[size]='\0';
	}
	//Usamos strok para extraer el comando y los parametros
	//obtenemos el comando
	char* comando_str = strtok ((char*)buffer, " ");
	//Obtenemos el resto de strings como parametros
	char* params = strtok  (NULL, " ");
	//Preguntamos si tenemos parametros para aquellas entradas sin parametros
	if (params == NULL){
		//Limpiamos el comando_str en caso de que tenga \r y \n
		comando_str[strcspn(comando_str, "\r\n")] = 0;
	}

	//Preguntamos si el comando esta vacio no hacemos nada
	if (comando_str==NULL){
		return;
	}

	//Debemos identificar el comando que estamos utilizando
	comandoID_t id =encontrarComandoid (comando_str);
	//Enviamos el comando a la maquina de estados
	despacharComando(id, comando_str, params);
}

//Funcion para encontrar el comando recibido
comandoID_t encontrarComandoid (const char* comando_str){
	for (int i =0; i< numeroComandos; i++){
		//Utilizamos la funcion strcmp que compara bit a bit el comando
		//ingresado con cada uno de los disponibles en la tabla
		if (strcmp (comando_str, tablaComandos[i].comando_str)==0){
			return tablaComandos[i].comando_id;
		}
	}
	//Si no coincide con ninguno entonces se retorna el estado de
	//comandoDesconocido
	return comandoDesconocido;
}
//Funcion para enviar el comando
void despacharComando (comandoID_t id, char* comando, char* params){
	switch (id){
	case cambiarDuty:{
		//Creamos una variable para guardar el mensaje que imprime las confirmaciones
		char msg[64];
		//Guardamos el valor del duty
		char *duty_str = strtok(NULL, " ");
		//Limpiamos el valor del duty en caso de que tenga \r y \n
		duty_str[strcspn(duty_str, "\r\n")] = 0;
		//Convertimos el valor en entero
		int duty = atoi(duty_str);
		//Preguntamos si el color es igual a rojo
		if (strcmp(params, "rojo") == 0) {
		    __HAL_TIM_SET_COMPARE(&htim1, TIM_CHANNEL_2, duty);
		    //Imprimimos el mensaje que confirma que ha cambiado el duty
		    sprintf(msg, "El duty del rojo es %d\r\n", duty);
		    HAL_UART_Transmit(&huart2, (uint8_t*)msg, strlen(msg), HAL_MAX_DELAY);
		//Preguntamos si el color es igual a azul
		} else if (strcmp(params, "azul") == 0) {
		    __HAL_TIM_SET_COMPARE(&htim4, TIM_CHANNEL_4, duty);
		    //Imprimimos el mensaje que confirma que ha cambiado el duty
		    sprintf(msg, "El duty del azul es %d\r\n", duty);
		    HAL_UART_Transmit(&huart2, (uint8_t*)msg, strlen(msg), HAL_MAX_DELAY);
		//Preguntamos si el color es igual a verde
		} else if (strcmp(params, "verde") == 0) {
		    __HAL_TIM_SET_COMPARE(&htim1, TIM_CHANNEL_1, duty);
		    //Imprimimos el mensaje que confirma que ha cambiado el duty
		    sprintf(msg, "El duty del verde es %d\r\n", duty);
		    HAL_UART_Transmit(&huart2, (uint8_t*)msg, strlen(msg), HAL_MAX_DELAY);
		} else {
		    char msg[] = "Color desconocido\r\n";
		    HAL_UART_Transmit(&huart2, (uint8_t*)msg, strlen(msg), HAL_MAX_DELAY);
		}

		break;
	}
	case ciclosMCUD:{
		//Creamos el arreglo donde vamos a guardar el numero de ciclos
		char msg[64];
		//Guardamos el numero de ciclos en el arreglo
		sprintf(msg, "Ciclos usados: %lu\r\n", ciclos);
		//Imprimimos el mensaje
		HAL_UART_Transmit(&huart2, (uint8_t*)msg, strlen(msg), HAL_MAX_DELAY);
		break;
	}
	case ciclosMCUM:{
		//Creamos el arreglo donde almacenamos el mensaje
		char mensaje[] = "Hola mundo!\r\n";
		//Comenzamos el contador
		uint32_t start = DWT->CYCCNT;
		//Transmitimos el mensaje con la DMA
		HAL_UART_Transmit(&huart2,(uint8_t*)mensaje, strlen(mensaje),HAL_MAX_DELAY);
		//Finalizamos el contador
		uint32_t end = DWT->CYCCNT;
		//Comparamos ciclo final menos ciclo inicial
		uint32_t ciclos2 = end - start;
		//Creamos un arreglo para el mensaje a imprimir
		char msg[64];
		//Guardamos el mensaje en el arreglo
		sprintf(msg, "Ciclos usados: %lu\r\n", ciclos2);
		//Imprimimos el mensaje
		HAL_UART_Transmit(&huart2, (uint8_t*)msg, strlen(msg), HAL_MAX_DELAY);
		break;
	}
	case help:{
		menuComandos (NULL);

		//Volvemos al estado refrescar
		fsm.estado = refrescar;
		break;
	}
	case comandoDesconocido:{
        //Creamos un char donde almacenamos el mensaje de comando incorrecto
        char incorrect_msg[30] = "Comando desconocido \r\n";
        HAL_UART_Transmit(&huart2, (uint8_t*)incorrect_msg, strlen(incorrect_msg), 1000);
		//Volvemos al estado refrescar
		fsm.estado = refrescar;
		break;
	}
	default:{
		__NOP();
		break;
	}
	}
}
/*
 * Funcion que determina qué digito tenemos encendido
 */
void digito_encendido(uint8_t digito, uint8_t unidad,uint8_t decena, uint8_t centena, uint8_t milUnidad){
	switch (digito){
	//Caso en el cual queremos ver el numero en el digito de las unidades
	case 0: {
		//Encendemos los pines correspondientes al numero que se desea
		definir_numero (unidad);
		//Encedemos el digito (1) donde se va a mostrar el numero seleccionado anteriormente
		HAL_GPIO_WritePin(alimentacion0_GPIO_Port, alimentacion0_Pin, GPIO_PIN_RESET);
		break;
	}
	case 1: {
		//Encendemos los pines correspondientes al numero que se desea
		definir_numero (decena);
		//Encedemos el digito (1) donde se va a mostrar el numero seleccionado anteriormente
		HAL_GPIO_WritePin(alimentacion1_GPIO_Port, alimentacion1_Pin, GPIO_PIN_RESET);
		break;
	}
	case 2:{
		//Encendemos los pines correspondientes al numero que se desea
		definir_numero (centena);
		//Encedemos el digito (1) donde se va a mostrar el numero seleccionado anteriormente
		HAL_GPIO_WritePin(alimentacion2_GPIO_Port, alimentacion2_Pin, GPIO_PIN_RESET);
		break;
	}
	case 3:{
		//Encendemos los pines correspondientes al numero que se desea
		definir_numero (milUnidad);
		//Encedemos el digito (1) donde se va a mostrar el numero seleccionado anteriormente
		HAL_GPIO_WritePin(alimentacion3_GPIO_Port, alimentacion3_Pin, GPIO_PIN_RESET);
		break;
	}
	default:{
		__NOP();
		break;
	}
	}// Fin del Switch-case
}
/*
 * Funcion que determina que numero vamos a mostrar
 */
void definir_numero (uint8_t numero){
	switch (numero){
	case 0: {
		HAL_GPIO_WritePin(segmento1_GPIO_Port, segmento1_Pin, GPIO_PIN_RESET);
		HAL_GPIO_WritePin(segmento2_GPIO_Port, segmento2_Pin, GPIO_PIN_RESET);
		HAL_GPIO_WritePin(segmento3_GPIO_Port, segmento3_Pin, GPIO_PIN_SET);
		HAL_GPIO_WritePin(segmento4_GPIO_Port, segmento4_Pin, GPIO_PIN_RESET);
		HAL_GPIO_WritePin(segmento5_GPIO_Port, segmento5_Pin, GPIO_PIN_SET);
		HAL_GPIO_WritePin(segmento7_GPIO_Port, segmento7_Pin, GPIO_PIN_RESET);
		HAL_GPIO_WritePin(segmento10_GPIO_Port, segmento10_Pin, GPIO_PIN_RESET);
		HAL_GPIO_WritePin(segmento11_GPIO_Port, segmento11_Pin, GPIO_PIN_RESET);
		break;
	}
	case 1: {
		HAL_GPIO_WritePin(segmento1_GPIO_Port, segmento1_Pin, GPIO_PIN_SET);
		HAL_GPIO_WritePin(segmento2_GPIO_Port, segmento2_Pin, GPIO_PIN_SET);
		HAL_GPIO_WritePin(segmento3_GPIO_Port, segmento3_Pin, GPIO_PIN_SET);
		HAL_GPIO_WritePin(segmento4_GPIO_Port, segmento4_Pin, GPIO_PIN_RESET);
		HAL_GPIO_WritePin(segmento5_GPIO_Port, segmento5_Pin, GPIO_PIN_SET);
		HAL_GPIO_WritePin(segmento7_GPIO_Port, segmento7_Pin, GPIO_PIN_RESET);
		HAL_GPIO_WritePin(segmento10_GPIO_Port, segmento10_Pin, GPIO_PIN_SET);
		HAL_GPIO_WritePin(segmento11_GPIO_Port, segmento11_Pin, GPIO_PIN_SET);
		break;
	}
	case 2: {
		HAL_GPIO_WritePin(segmento1_GPIO_Port, segmento1_Pin, GPIO_PIN_RESET);
		HAL_GPIO_WritePin(segmento2_GPIO_Port, segmento2_Pin, GPIO_PIN_RESET);
		HAL_GPIO_WritePin(segmento3_GPIO_Port, segmento3_Pin, GPIO_PIN_SET);
		HAL_GPIO_WritePin(segmento4_GPIO_Port, segmento4_Pin, GPIO_PIN_SET);
		HAL_GPIO_WritePin(segmento5_GPIO_Port, segmento5_Pin, GPIO_PIN_RESET);
		HAL_GPIO_WritePin(segmento7_GPIO_Port, segmento7_Pin, GPIO_PIN_RESET);
		HAL_GPIO_WritePin(segmento10_GPIO_Port, segmento10_Pin, GPIO_PIN_SET);
		HAL_GPIO_WritePin(segmento11_GPIO_Port, segmento11_Pin, GPIO_PIN_RESET);
		break;
	}
	case 3: {
		HAL_GPIO_WritePin(segmento1_GPIO_Port, segmento1_Pin, GPIO_PIN_SET);
		HAL_GPIO_WritePin(segmento2_GPIO_Port, segmento2_Pin, GPIO_PIN_RESET);
		HAL_GPIO_WritePin(segmento3_GPIO_Port, segmento3_Pin, GPIO_PIN_SET);
		HAL_GPIO_WritePin(segmento4_GPIO_Port, segmento4_Pin, GPIO_PIN_RESET);
		HAL_GPIO_WritePin(segmento5_GPIO_Port, segmento5_Pin, GPIO_PIN_RESET);
		HAL_GPIO_WritePin(segmento7_GPIO_Port, segmento7_Pin, GPIO_PIN_RESET);
		HAL_GPIO_WritePin(segmento10_GPIO_Port, segmento10_Pin, GPIO_PIN_SET);
		HAL_GPIO_WritePin(segmento11_GPIO_Port, segmento11_Pin, GPIO_PIN_RESET);
		break;
	}
	case 4: {
		HAL_GPIO_WritePin(segmento1_GPIO_Port, segmento1_Pin, GPIO_PIN_SET);
		HAL_GPIO_WritePin(segmento2_GPIO_Port, segmento2_Pin, GPIO_PIN_SET);
		HAL_GPIO_WritePin(segmento3_GPIO_Port, segmento3_Pin, GPIO_PIN_SET);
		HAL_GPIO_WritePin(segmento4_GPIO_Port, segmento4_Pin, GPIO_PIN_RESET);
		HAL_GPIO_WritePin(segmento5_GPIO_Port, segmento5_Pin, GPIO_PIN_RESET);
		HAL_GPIO_WritePin(segmento7_GPIO_Port, segmento7_Pin, GPIO_PIN_RESET);
		HAL_GPIO_WritePin(segmento10_GPIO_Port, segmento10_Pin, GPIO_PIN_RESET);
		HAL_GPIO_WritePin(segmento11_GPIO_Port, segmento11_Pin, GPIO_PIN_SET);
		break;
	}
	case 5: {
		HAL_GPIO_WritePin(segmento1_GPIO_Port, segmento1_Pin, GPIO_PIN_SET);
		HAL_GPIO_WritePin(segmento2_GPIO_Port, segmento2_Pin, GPIO_PIN_RESET);
		HAL_GPIO_WritePin(segmento3_GPIO_Port, segmento3_Pin, GPIO_PIN_SET);
		HAL_GPIO_WritePin(segmento4_GPIO_Port, segmento4_Pin, GPIO_PIN_RESET);
		HAL_GPIO_WritePin(segmento5_GPIO_Port, segmento5_Pin, GPIO_PIN_RESET);
		HAL_GPIO_WritePin(segmento7_GPIO_Port, segmento7_Pin, GPIO_PIN_SET);
		HAL_GPIO_WritePin(segmento10_GPIO_Port, segmento10_Pin, GPIO_PIN_RESET);
		HAL_GPIO_WritePin(segmento11_GPIO_Port, segmento11_Pin, GPIO_PIN_RESET);
		break;
	}
	case 6: {
		HAL_GPIO_WritePin(segmento1_GPIO_Port, segmento1_Pin, GPIO_PIN_RESET);
		HAL_GPIO_WritePin(segmento2_GPIO_Port, segmento2_Pin, GPIO_PIN_RESET);
		HAL_GPIO_WritePin(segmento3_GPIO_Port, segmento3_Pin, GPIO_PIN_SET);
		HAL_GPIO_WritePin(segmento4_GPIO_Port, segmento4_Pin, GPIO_PIN_RESET);
		HAL_GPIO_WritePin(segmento5_GPIO_Port, segmento5_Pin, GPIO_PIN_RESET);
		HAL_GPIO_WritePin(segmento7_GPIO_Port, segmento7_Pin, GPIO_PIN_SET);
		HAL_GPIO_WritePin(segmento10_GPIO_Port, segmento10_Pin, GPIO_PIN_RESET);
		HAL_GPIO_WritePin(segmento11_GPIO_Port, segmento11_Pin, GPIO_PIN_RESET);
		break;
	}
	case 7: {
		HAL_GPIO_WritePin(segmento1_GPIO_Port, segmento1_Pin, GPIO_PIN_SET);
		HAL_GPIO_WritePin(segmento2_GPIO_Port, segmento2_Pin, GPIO_PIN_SET);
		HAL_GPIO_WritePin(segmento3_GPIO_Port, segmento3_Pin, GPIO_PIN_SET);
		HAL_GPIO_WritePin(segmento4_GPIO_Port, segmento4_Pin, GPIO_PIN_RESET);
		HAL_GPIO_WritePin(segmento5_GPIO_Port, segmento5_Pin, GPIO_PIN_SET);
		HAL_GPIO_WritePin(segmento7_GPIO_Port, segmento7_Pin, GPIO_PIN_RESET);
		HAL_GPIO_WritePin(segmento10_GPIO_Port, segmento10_Pin, GPIO_PIN_SET);
		HAL_GPIO_WritePin(segmento11_GPIO_Port, segmento11_Pin, GPIO_PIN_RESET);
		break;
	}
	case 8: {
		HAL_GPIO_WritePin(segmento1_GPIO_Port, segmento1_Pin, GPIO_PIN_RESET);
		HAL_GPIO_WritePin(segmento2_GPIO_Port, segmento2_Pin, GPIO_PIN_RESET);
		HAL_GPIO_WritePin(segmento3_GPIO_Port, segmento3_Pin, GPIO_PIN_SET);
		HAL_GPIO_WritePin(segmento4_GPIO_Port, segmento4_Pin, GPIO_PIN_RESET);
		HAL_GPIO_WritePin(segmento5_GPIO_Port, segmento5_Pin, GPIO_PIN_RESET);
		HAL_GPIO_WritePin(segmento7_GPIO_Port, segmento7_Pin, GPIO_PIN_RESET);
		HAL_GPIO_WritePin(segmento10_GPIO_Port, segmento10_Pin, GPIO_PIN_RESET);
		HAL_GPIO_WritePin(segmento11_GPIO_Port, segmento11_Pin, GPIO_PIN_RESET);
		break;
	}
	case 9: {
		HAL_GPIO_WritePin(segmento1_GPIO_Port, segmento1_Pin, GPIO_PIN_SET);
		HAL_GPIO_WritePin(segmento2_GPIO_Port, segmento2_Pin, GPIO_PIN_RESET);
		HAL_GPIO_WritePin(segmento3_GPIO_Port, segmento3_Pin, GPIO_PIN_SET);
		HAL_GPIO_WritePin(segmento4_GPIO_Port, segmento4_Pin, GPIO_PIN_RESET);
		HAL_GPIO_WritePin(segmento5_GPIO_Port, segmento5_Pin, GPIO_PIN_RESET);
		HAL_GPIO_WritePin(segmento7_GPIO_Port, segmento7_Pin, GPIO_PIN_RESET);
		HAL_GPIO_WritePin(segmento10_GPIO_Port, segmento10_Pin, GPIO_PIN_RESET);
		HAL_GPIO_WritePin(segmento11_GPIO_Port, segmento11_Pin, GPIO_PIN_RESET);
		break;
	}
	default: {
		__NOP();
		break;
	}
	}// Fin del switch-case

}
uint16_t cambioNumero (uint16_t numeroLocal){
	//Creamos una variable en la cual guardamos el valor del pin
	//donde está el DT
	uint32_t valor_DT = 0;
	//Cargamos el valor del pin en la variable
	valor_DT = HAL_GPIO_ReadPin(CLK_GPIO_Port, CLK_Pin);
	//Comparamos las posibles opciones
	switch (valor_DT){
	//Cuando el pin DT está en 0
	case 0: {
		//Nos aseguramos de que el numeroDisplay no vaya a ser mayor ue 4095
		if (numeroLocal>=1000){
			//Devolvemos el valor de numeroDisplay a 1
			numeroLocal=1;
			//Retornamos el valor numeroLocal
			return numeroLocal;
		}
		else {
			//Le sumamos una unidad a la variable numeroDisplay
			numeroLocal +=10;
			//Retornamos el valor numeroLocal
			return numeroLocal;
		}
		break;
	}

	case 1: {
		//Nos aseguramos de que el numeroDisplay no vaya a ser menor que cero
		if (numeroLocal<=1){
			//Lo devolvemos a 4095
			numeroLocal =1000;
			//Retornamos el valor numeroLocal
			return numeroLocal;
		}
		else {
			//Le restamos a numeroDisplay una unidad
			numeroLocal -=10;
			//Retornamos el valor numeroLocal
			return numeroLocal;
		}
		break;

	}
	default:{
		//Retornamos el valor numeroLocal
		return numeroLocal;
		break;
	}
	}
}
//Callback del timer2 para la funcion del blinky
void HAL_TIM_PeriodElapsedCallback(TIM_HandleTypeDef *htim){
	if (htim->Instance ==TIM2){
		fsm.estado = Blinky;
	}
	else if (htim->Instance == TIM3){
		digito +=1;
		//Debemos cersiorarnos de que el digito que queremos encender no tenga un
		//valor mayor a 3 (ya que solo tenemos 4 digitos)
		if (digito >= 4){
			digito=0;
		}
	}

}
void HAL_GPIO_EXTI_Callback(uint16_t GPIO_Pin){
	if (GPIO_Pin == GPIO_PIN_9){
		//Cambiamos el estado a "cambiar numero"
		fsm.estado = cambiar_numero;
	}
	else if (GPIO_Pin == GPIO_PIN_5){
		//cambiamos el estado a "aumentar tasa de refresco"
		fsm.estado = aumentar_tasa_refresco;
	}
	else if (GPIO_Pin == GPIO_PIN_2){
		//Cambiamos el estado a "disminuir tasa de refresco"
		fsm.estado = disminuir_tasa_refresco;
	}
	else if (GPIO_Pin == GPIO_PIN_8){
		//Cambiamos el estado a resetear
		fsm.estado = resetear;
	}
}
//Llamamos al callback para la recepcion del comando
void HAL_UARTEx_RxEventCallback(UART_HandleTypeDef *huart, uint16_t Size){
	//Nos aseguramos de que estamos usando el USART2
	if (huart->Instance ==USART2){
		//Preguntamos si estamos en el bufferA
		if (dma_buffer_activo==bufferA){
			//Guardamos el buffer recibido en el buffer_a
			data_ready_packet.buffer = rx_buffer_a;
			//Guardamos el tamano del buffer
			data_ready_packet.size = Size;
			//Pasamos al buffer B
			dma_buffer_activo= bufferB;
			HAL_UARTEx_ReceiveToIdle_DMA(&huart2, rx_buffer_b, UART_RX_BUFFER_SIZE);
		}
		//Si el buffer se encuentra en el bufferb
		else {
			//Guardamos el buffer recibido en el buffer_a
			data_ready_packet.buffer = rx_buffer_b;
			//Guardamos el tamano del buffer
			data_ready_packet.size = Size;
			//Pasamos al buffer A
			dma_buffer_activo= bufferA;
			HAL_UARTEx_ReceiveToIdle_DMA(&huart2, rx_buffer_a, UART_RX_BUFFER_SIZE);
		}
		//Cambiamos de estado a recibir mensaje
		fsm.estado = mensaje;
	}
}
//Callback para el ADC
void HAL_ADC_ConvCpltCallback(ADC_HandleTypeDef* hadc)
{
    if (hadc->Instance == ADC1)
    {
        if (buffer_index < BUFFER_LEN)
        {
           numerox1 = adc_dma_buffer[0];  // X
           numeroy1 = adc_dma_buffer[1];  // Y
            buffer_index++;
        }
        else
        {
            buffer_index = 0;  // o detener almacenamiento si ya está lleno
        }
    }
    fsm.estado = refrescar;
}

/* USER CODE END 4 */

void Error_Handler(void)
{
  __disable_irq();
  while (1)
  {
  }
}
